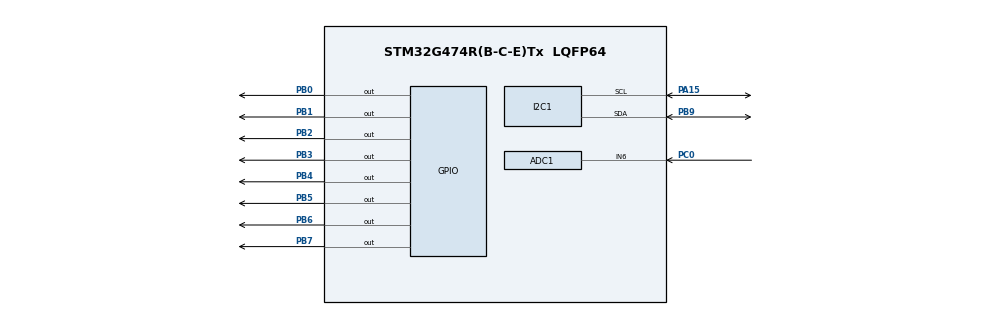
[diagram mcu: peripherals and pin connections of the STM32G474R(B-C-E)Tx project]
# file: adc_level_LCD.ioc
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ADC1.Channel-0\#ChannelRegularConversion=ADC_CHANNEL_6
ADC1.NbrOfConversionFlag=1
ADC1.OffsetNumber-0\#ChannelRegularConversion=ADC_OFFSET_NONE
ADC1.Rank-0\#ChannelRegularConversion=1
ADC1.SamplingTime-0\#ChannelRegularConversion=ADC_SAMPLETIME_2CYCLES_5
ADC1.master=1
I2C1.Timing=0x40B285C2
Mcu.Family=STM32G4
Mcu.Name=STM32G474R(B-C-E)Tx
Mcu.Package=LQFP64
NVIC.PriorityGroup=NVIC_PRIORITYGROUP_4
PA15.Mode=I2C
PA15.Signal=I2C1_SCL
PB0.Signal=GPIO_Output
PB1.Signal=GPIO_Output
PB2.Signal=GPIO_Output
PB3.Signal=GPIO_Output
PB4.Signal=GPIO_Output
PB5.Signal=GPIO_Output
PB6.Signal=GPIO_Output
PB7.Signal=GPIO_Output
PB9.Mode=I2C
PB9.Signal=I2C1_SDA
PC0.Mode=IN6-Single-Ended
PC0.Signal=ADC1_IN6
ProjectManager.HeapSize=0x200
ProjectManager.StackSize=0x400
ProjectManager.TargetToolchain=STM32CubeIDE
RCC.ADC12Freq_Value=170000000
RCC.ADC345Freq_Value=170000000
RCC.AHBFreq_Value=170000000
RCC.APB1Freq_Value=170000000
RCC.APB1TimFreq_Value=170000000
RCC.APB2Freq_Value=170000000
RCC.APB2TimFreq_Value=170000000
RCC.CortexFreq_Value=170000000
RCC.EXTERNAL_CLOCK_VALUE=12288000
RCC.HCLKFreq_Value=170000000
RCC.HSE_VALUE=24000000
RCC.HSI48_VALUE=48000000
RCC.HSI_VALUE=16000000
RCC.LSE_VALUE=32768
RCC.PLLM=RCC_PLLM_DIV4
RCC.PLLN=85
RCC.RTCClockSelection=RCC_RTCCLKSOURCE_LSE
RCC.SYSCLKFreq_VALUE=170000000
RCC.SYSCLKSource=RCC_SYSCLKSOURCE_PLLCLK
RCC.USBFreq_Value=170000000
RCC.VCOOutputFreq_Value=340000000
VP_SYS_VS_DBSignals.Mode=DisableDeadBatterySignals
board=NUCLEO-G474RE

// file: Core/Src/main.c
/* USER CODE BEGIN Header */
/**
  ******************************************************************************
  * @file           : main.c
  * @brief          : ADC Level on PORTB LEDs & LCD via PCA9555 Expander
  ******************************************************************************
  */
/* USER CODE END Header */
#include "main.h"

/* USER CODE BEGIN Includes */
#include <stdio.h>
#include "stm32g4xx_ll_i2c.h"
#include "stm32g4xx_ll_adc.h"
#include "stm32g4xx_ll_gpio.h"
#include "stm32g4xx_ll_bus.h"
#include "stm32g4xx_ll_utils.h"
/* USER CODE END Includes */

/* USER CODE BEGIN PTD */
typedef enum
{
    REG_INPUT_0 = 0,
    REG_INPUT_1 = 1,
    REG_OUTPUT_0 = 2,
    REG_OUTPUT_1 = 3,
    REG_POLARITY_INV_0 = 4,
    REG_POLARITY_INV_1 = 5,
    REG_CONFIGURATION_0 = 6,
    REG_CONFIGURATION_1 = 7
} PCA9555_REGISTERS;
/* USER CODE END PTD */

/* USER CODE BEGIN PD */
#define PCA9555_ADDRESS   (0x20 << 1) // 0x40

#define LCD_RS_PIN        (1 << 2)    // pex_0_2
#define LCD_E_PIN         (1 << 3)    // pex_0_3
/* USER CODE END PD */

/* USER CODE BEGIN PV */
volatile uint16_t pot_raw = 0;
volatile uint8_t  num_leds = 0;
/* USER CODE END PV */

void SystemClock_Config(void);
static void MX_GPIO_Init(void);
static void MX_ADC1_Init(void);
static void MX_I2C1_Init(void);
/* USER CODE BEGIN PFP */
void PCA9555_Write(uint8_t reg, uint8_t value);
uint8_t PCA9555_Read(uint8_t reg);

void LCD_PulseEnable(uint8_t data);
void LCD_Send4Bits(uint8_t nibble, uint8_t rs);
void LCD_SendCommand(uint8_t cmd);
void LCD_SendData(uint8_t data);
void LCD_Init(void);
void LCD_SetCursor(uint8_t row, uint8_t col);
void LCD_Print(char *str);
/* USER CODE END PFP */

int main(void)
{

  /* MCU Configuration--------------------------------------------------------*/

  /* Reset of all peripherals, Initializes the Flash interface and the Systick. */
  LL_APB2_GRP1_EnableClock(LL_APB2_GRP1_PERIPH_SYSCFG);
  LL_APB1_GRP1_EnableClock(LL_APB1_GRP1_PERIPH_PWR);

  /* System interrupt init*/
  NVIC_SetPriorityGrouping(NVIC_PRIORITYGROUP_4);

  /** Disable the internal Pull-Up in Dead Battery pins of UCPD peripheral
  */
  LL_PWR_DisableUCPDDeadBattery();

  /* Configure the system clock */
  SystemClock_Config();

  /* Initialize all configured peripherals */
  MX_GPIO_Init();
  MX_ADC1_Init();
  MX_I2C1_Init();
  /* USER CODE BEGIN 2 */
  /* 1. Ενεργοποίηση & Calibration ADC1 */
  LL_ADC_EnableInternalRegulator(ADC1);
  LL_mDelay(1);
  LL_ADC_StartCalibration(ADC1, LL_ADC_SINGLE_ENDED);
  while (LL_ADC_IsCalibrationOnGoing(ADC1));
  LL_ADC_Enable(ADC1);
  while (!LL_ADC_IsActiveFlag_ADRDY(ADC1));

  /* 2. Ρύθμιση Port 0 του PCA9555 ως Output για την LCD */
  PCA9555_Write(REG_CONFIGURATION_0, 0x00);
  PCA9555_Write(REG_OUTPUT_0, 0x00);

  /* 3. Αρχικοποίηση Οθόνης LCD */
  LCD_Init();
  /* USER CODE END 2 */

  /* Infinite loop */
  while (1)
  {

    /* USER CODE BEGIN 3 */
    /* 1. Ανάγνωση 12-bit ADC από POT1 (PC0) */
    LL_ADC_REG_StartConversion(ADC1);
    while (!LL_ADC_IsActiveFlag_EOC(ADC1));
    pot_raw = LL_ADC_REG_ReadConversionData12(ADC1);

    /* 2. Υπολογισμός στάθμης και οδήγηση των LEDs στο PORTB (PB0..PB7) */
    num_leds = (pot_raw + 64) / 512;
    if (num_leds > 8) num_leds = 8;

    uint8_t mask = 0;
    if (num_leds > 0) {
        mask = (1 << num_leds) - 1;
    }

    uint32_t portb_val = LL_GPIO_ReadOutputPort(GPIOB);
    portb_val &= ~0x00FF;
    portb_val |= (mask & 0x00FF);
    LL_GPIO_WriteOutputPort(GPIOB, portb_val);

    /* 3. Υπολογισμός πραγματικής τάσης σε Volt */
    uint32_t voltage_mv = ((uint32_t)pot_raw * 3300) / 4095;
    uint8_t v_int = voltage_mv / 1000;
    uint16_t v_dec = (voltage_mv % 1000) / 10;

    /* 4. Μορφοποίηση 16 χαρακτήρων ανά γραμμή χωρίς τρεμόπαιγμα */
    char line1[32];
    char line2[32];

    snprintf(line1, sizeof(line1), "RAW: %-4u  %u.%02uV ", pot_raw, (unsigned int)v_int, (unsigned int)v_dec);

    char bar[9] = "        ";
    for (int i = 0; i < 8; i++) {
        bar[i] = (i < num_leds) ? '=' : ' ';
    }
    snprintf(line2, sizeof(line2), "BAR:[%s]L%u ", bar, (unsigned int)num_leds);

    /* 5. Ενημέρωση της οθόνης με σταθερό Overwrite */
    LCD_SetCursor(0, 0);
    LCD_Print(line1);

    LCD_SetCursor(1, 0);
    LCD_Print(line2);

    LL_mDelay(80);
  }
  /* USER CODE END 3 */
}

void SystemClock_Config(void)
{
  LL_FLASH_SetLatency(LL_FLASH_LATENCY_4);
  while(LL_FLASH_GetLatency() != LL_FLASH_LATENCY_4)
  {
  }
  LL_PWR_EnableRange1BoostMode();
  LL_RCC_HSI_Enable();
   /* Wait till HSI is ready */
  while(LL_RCC_HSI_IsReady() != 1)
  {
  }

  LL_RCC_HSI_SetCalibTrimming(64);
  LL_RCC_PLL_ConfigDomain_SYS(LL_RCC_PLLSOURCE_HSI, LL_RCC_PLLM_DIV_4, 85, LL_RCC_PLLR_DIV_2);
  LL_RCC_PLL_EnableDomain_SYS();
  LL_RCC_PLL_Enable();
   /* Wait till PLL is ready */
  while(LL_RCC_PLL_IsReady() != 1)
  {
  }

  LL_RCC_SetSysClkSource(LL_RCC_SYS_CLKSOURCE_PLL);
  LL_RCC_SetAHBPrescaler(LL_RCC_SYSCLK_DIV_2);
   /* Wait till System clock is ready */
  while(LL_RCC_GetSysClkSource() != LL_RCC_SYS_CLKSOURCE_STATUS_PLL)
  {
  }

  /* Insure 1us transition state at intermediate medium speed clock*/
  for (__IO uint32_t i = (170 >> 1); i !=0; i--);

  /* Set AHB prescaler*/
  LL_RCC_SetAHBPrescaler(LL_RCC_SYSCLK_DIV_1);
  LL_RCC_SetAPB1Prescaler(LL_RCC_APB1_DIV_1);
  LL_RCC_SetAPB2Prescaler(LL_RCC_APB2_DIV_1);

  LL_Init1msTick(170000000);

  LL_SetSystemCoreClock(170000000);
}

static void MX_ADC1_Init(void)
{

  LL_ADC_InitTypeDef ADC_InitStruct = {0};
  LL_ADC_REG_InitTypeDef ADC_REG_InitStruct = {0};
  LL_ADC_CommonInitTypeDef ADC_CommonInitStruct = {0};

  LL_GPIO_InitTypeDef GPIO_InitStruct = {0};

  LL_RCC_SetADCClockSource(LL_RCC_ADC12_CLKSOURCE_SYSCLK);

  /* Peripheral clock enable */
  LL_AHB2_GRP1_EnableClock(LL_AHB2_GRP1_PERIPH_ADC12);

  LL_AHB2_GRP1_EnableClock(LL_AHB2_GRP1_PERIPH_GPIOC);
  /**ADC1 GPIO Configuration
  PC0   ------> ADC1_IN6
  */
  GPIO_InitStruct.Pin = LL_GPIO_PIN_0;
  GPIO_InitStruct.Mode = LL_GPIO_MODE_ANALOG;
  GPIO_InitStruct.Pull = LL_GPIO_PULL_NO;
  LL_GPIO_Init(GPIOC, &GPIO_InitStruct);

  /** Common config
  */
  ADC_InitStruct.Resolution = LL_ADC_RESOLUTION_12B;
  ADC_InitStruct.DataAlignment = LL_ADC_DATA_ALIGN_RIGHT;
  ADC_InitStruct.LowPowerMode = LL_ADC_LP_MODE_NONE;
  LL_ADC_Init(ADC1, &ADC_InitStruct);
  ADC_REG_InitStruct.TriggerSource = LL_ADC_REG_TRIG_SOFTWARE;
  ADC_REG_InitStruct.SequencerLength = LL_ADC_REG_SEQ_SCAN_DISABLE;
  ADC_REG_InitStruct.SequencerDiscont = LL_ADC_REG_SEQ_DISCONT_DISABLE;
  ADC_REG_InitStruct.ContinuousMode = LL_ADC_REG_CONV_SINGLE;
  ADC_REG_InitStruct.DMATransfer = LL_ADC_REG_DMA_TRANSFER_NONE;
  ADC_REG_InitStruct.Overrun = LL_ADC_REG_OVR_DATA_PRESERVED;
  LL_ADC_REG_Init(ADC1, &ADC_REG_InitStruct);
  LL_ADC_SetGainCompensation(ADC1, 0);
  LL_ADC_SetOverSamplingScope(ADC1, LL_ADC_OVS_DISABLE);
  ADC_CommonInitStruct.CommonClock = LL_ADC_CLOCK_SYNC_PCLK_DIV4;
  ADC_CommonInitStruct.Multimode = LL_ADC_MULTI_INDEPENDENT;
  LL_ADC_CommonInit(__LL_ADC_COMMON_INSTANCE(ADC1), &ADC_CommonInitStruct);

  /* Disable ADC deep power down (enabled by default after reset state) */
  LL_ADC_DisableDeepPowerDown(ADC1);
  /* Enable ADC internal voltage regulator */
  LL_ADC_EnableInternalRegulator(ADC1);
  /* Delay for ADC internal voltage regulator stabilization. */
  /* Compute number of CPU cycles to wait for, from delay in us. */
  /* Note: Variable divided by 2 to compensate partially */
  /* CPU processing cycles (depends on compilation optimization). */
  /* Note: If system core clock frequency is below 200kHz, wait time */
  /* is only a few CPU processing cycles. */
  uint32_t wait_loop_index;
  wait_loop_index = ((LL_ADC_DELAY_INTERNAL_REGUL_STAB_US * (SystemCoreClock / (100000 * 2))) / 10);
  while(wait_loop_index != 0)
  {
    wait_loop_index--;
  }

  /** Configure Regular Channel
  */
  LL_ADC_REG_SetSequencerRanks(ADC1, LL_ADC_REG_RANK_1, LL_ADC_CHANNEL_6);
  LL_ADC_SetChannelSamplingTime(ADC1, LL_ADC_CHANNEL_6, LL_ADC_SAMPLINGTIME_2CYCLES_5);
  LL_ADC_SetChannelSingleDiff(ADC1, LL_ADC_CHANNEL_6, LL_ADC_SINGLE_ENDED);

}

static void MX_I2C1_Init(void)
{

  LL_I2C_InitTypeDef I2C_InitStruct = {0};

  LL_GPIO_InitTypeDef GPIO_InitStruct = {0};

  LL_RCC_SetI2CClockSource(LL_RCC_I2C1_CLKSOURCE_PCLK1);

  LL_AHB2_GRP1_EnableClock(LL_AHB2_GRP1_PERIPH_GPIOA);
  LL_AHB2_GRP1_EnableClock(LL_AHB2_GRP1_PERIPH_GPIOB);
  /**I2C1 GPIO Configuration
  PA15   ------> I2C1_SCL
  PB9   ------> I2C1_SDA
  */
  GPIO_InitStruct.Pin = LL_GPIO_PIN_15;
  GPIO_InitStruct.Mode = LL_GPIO_MODE_ALTERNATE;
  GPIO_InitStruct.Speed = LL_GPIO_SPEED_FREQ_LOW;
  GPIO_InitStruct.OutputType = LL_GPIO_OUTPUT_OPENDRAIN;
  GPIO_InitStruct.Pull = LL_GPIO_PULL_NO;
  GPIO_InitStruct.Alternate = LL_GPIO_AF_4;
  LL_GPIO_Init(GPIOA, &GPIO_InitStruct);

  GPIO_InitStruct.Pin = LL_GPIO_PIN_9;
  GPIO_InitStruct.Mode = LL_GPIO_MODE_ALTERNATE;
  GPIO_InitStruct.Speed = LL_GPIO_SPEED_FREQ_LOW;
  GPIO_InitStruct.OutputType = LL_GPIO_OUTPUT_OPENDRAIN;
  GPIO_InitStruct.Pull = LL_GPIO_PULL_NO;
  GPIO_InitStruct.Alternate = LL_GPIO_AF_4;
  LL_GPIO_Init(GPIOB, &GPIO_InitStruct);

  /* Peripheral clock enable */
  LL_APB1_GRP1_EnableClock(LL_APB1_GRP1_PERIPH_I2C1);

  /** I2C Initialization
  */
  I2C_InitStruct.PeripheralMode = LL_I2C_MODE_I2C;
  I2C_InitStruct.Timing = 0x40B285C2;
  I2C_InitStruct.AnalogFilter = LL_I2C_ANALOGFILTER_ENABLE;
  I2C_InitStruct.DigitalFilter = 0;
  I2C_InitStruct.OwnAddress1 = 0;
  I2C_InitStruct.TypeAcknowledge = LL_I2C_ACK;
  I2C_InitStruct.OwnAddrSize = LL_I2C_OWNADDRESS1_7BIT;
  LL_I2C_Init(I2C1, &I2C_InitStruct);
  LL_I2C_EnableAutoEndMode(I2C1);
  LL_I2C_SetOwnAddress2(I2C1, 0, LL_I2C_OWNADDRESS2_NOMASK);
  LL_I2C_DisableOwnAddress2(I2C1);
  LL_I2C_DisableGeneralCall(I2C1);
  LL_I2C_EnableClockStretching(I2C1);

}

static void MX_GPIO_Init(void)
{
  LL_GPIO_InitTypeDef GPIO_InitStruct = {0};

  /* GPIO Ports Clock Enable */
  LL_AHB2_GRP1_EnableClock(LL_AHB2_GRP1_PERIPH_GPIOC);
  LL_AHB2_GRP1_EnableClock(LL_AHB2_GRP1_PERIPH_GPIOB);
  LL_AHB2_GRP1_EnableClock(LL_AHB2_GRP1_PERIPH_GPIOA);

  /**/
  LL_GPIO_ResetOutputPin(GPIOB, LL_GPIO_PIN_0);

  /**/
  LL_GPIO_ResetOutputPin(GPIOB, LL_GPIO_PIN_1);

  /**/
  LL_GPIO_ResetOutputPin(GPIOB, LL_GPIO_PIN_2);

  /**/
  LL_GPIO_ResetOutputPin(GPIOB, LL_GPIO_PIN_3);

  /**/
  LL_GPIO_ResetOutputPin(GPIOB, LL_GPIO_PIN_4);

  /**/
  LL_GPIO_ResetOutputPin(GPIOB, LL_GPIO_PIN_5);

  /**/
  LL_GPIO_ResetOutputPin(GPIOB, LL_GPIO_PIN_6);

  /**/
  LL_GPIO_ResetOutputPin(GPIOB, LL_GPIO_PIN_7);

  /**/
  GPIO_InitStruct.Pin = LL_GPIO_PIN_0;
  GPIO_InitStruct.Mode = LL_GPIO_MODE_OUTPUT;
  GPIO_InitStruct.Speed = LL_GPIO_SPEED_FREQ_LOW;
  GPIO_InitStruct.OutputType = LL_GPIO_OUTPUT_PUSHPULL;
  GPIO_InitStruct.Pull = LL_GPIO_PULL_NO;
  LL_GPIO_Init(GPIOB, &GPIO_InitStruct);

  /**/
  GPIO_InitStruct.Pin = LL_GPIO_PIN_1;
  GPIO_InitStruct.Mode = LL_GPIO_MODE_OUTPUT;
  GPIO_InitStruct.Speed = LL_GPIO_SPEED_FREQ_LOW;
  GPIO_InitStruct.OutputType = LL_GPIO_OUTPUT_PUSHPULL;
  GPIO_InitStruct.Pull = LL_GPIO_PULL_NO;
  LL_GPIO_Init(GPIOB, &GPIO_InitStruct);

  /**/
  GPIO_InitStruct.Pin = LL_GPIO_PIN_2;
  GPIO_InitStruct.Mode = LL_GPIO_MODE_OUTPUT;
  GPIO_InitStruct.Speed = LL_GPIO_SPEED_FREQ_LOW;
  GPIO_InitStruct.OutputType = LL_GPIO_OUTPUT_PUSHPULL;
  GPIO_InitStruct.Pull = LL_GPIO_PULL_NO;
  LL_GPIO_Init(GPIOB, &GPIO_InitStruct);

  /**/
  GPIO_InitStruct.Pin = LL_GPIO_PIN_3;
  GPIO_InitStruct.Mode = LL_GPIO_MODE_OUTPUT;
  GPIO_InitStruct.Speed = LL_GPIO_SPEED_FREQ_LOW;
  GPIO_InitStruct.OutputType = LL_GPIO_OUTPUT_PUSHPULL;
  GPIO_InitStruct.Pull = LL_GPIO_PULL_NO;
  LL_GPIO_Init(GPIOB, &GPIO_InitStruct);

  /**/
  GPIO_InitStruct.Pin = LL_GPIO_PIN_4;
  GPIO_InitStruct.Mode = LL_GPIO_MODE_OUTPUT;
  GPIO_InitStruct.Speed = LL_GPIO_SPEED_FREQ_LOW;
  GPIO_InitStruct.OutputType = LL_GPIO_OUTPUT_PUSHPULL;
  GPIO_InitStruct.Pull = LL_GPIO_PULL_NO;
  LL_GPIO_Init(GPIOB, &GPIO_InitStruct);

  /**/
  GPIO_InitStruct.Pin = LL_GPIO_PIN_5;
  GPIO_InitStruct.Mode = LL_GPIO_MODE_OUTPUT;
  GPIO_InitStruct.Speed = LL_GPIO_SPEED_FREQ_LOW;
  GPIO_InitStruct.OutputType = LL_GPIO_OUTPUT_PUSHPULL;
  GPIO_InitStruct.Pull = LL_GPIO_PULL_NO;
  LL_GPIO_Init(GPIOB, &GPIO_InitStruct);

  /**/
  GPIO_InitStruct.Pin = LL_GPIO_PIN_6;
  GPIO_InitStruct.Mode = LL_GPIO_MODE_OUTPUT;
  GPIO_InitStruct.Speed = LL_GPIO_SPEED_FREQ_LOW;
  GPIO_InitStruct.OutputType = LL_GPIO_OUTPUT_PUSHPULL;
  GPIO_InitStruct.Pull = LL_GPIO_PULL_NO;
  LL_GPIO_Init(GPIOB, &GPIO_InitStruct);

  /**/
  GPIO_InitStruct.Pin = LL_GPIO_PIN_7;
  GPIO_InitStruct.Mode = LL_GPIO_MODE_OUTPUT;
  GPIO_InitStruct.Speed = LL_GPIO_SPEED_FREQ_LOW;
  GPIO_InitStruct.OutputType = LL_GPIO_OUTPUT_PUSHPULL;
  GPIO_InitStruct.Pull = LL_GPIO_PULL_NO;
  LL_GPIO_Init(GPIOB, &GPIO_InitStruct);

}

/* USER CODE BEGIN 4 */
/*
 * Write one byte to PCA9555 register
 */
void PCA9555_Write(uint8_t reg, uint8_t value)
{
    uint32_t timeout = 20000;

    LL_I2C_HandleTransfer(
        I2C1,
        PCA9555_ADDRESS,
        LL_I2C_ADDRSLAVE_7BIT,
        2,
        LL_I2C_MODE_AUTOEND,
        LL_I2C_GENERATE_START_WRITE
    );

    while (!LL_I2C_IsActiveFlag_TXIS(I2C1)) {
        if (--timeout == 0 || LL_I2C_IsActiveFlag_NACK(I2C1)) {
            LL_I2C_ClearFlag_NACK(I2C1);
            return;
        }
    }
    LL_I2C_TransmitData8(I2C1, reg);

    timeout = 20000;
    while (!LL_I2C_IsActiveFlag_TXIS(I2C1)) {
        if (--timeout == 0 || LL_I2C_IsActiveFlag_NACK(I2C1)) {
            LL_I2C_ClearFlag_NACK(I2C1);
            return;
        }
    }
    LL_I2C_TransmitData8(I2C1, value);

    timeout = 20000;
    while (!LL_I2C_IsActiveFlag_STOP(I2C1)) {
        if (--timeout == 0) return;
    }
    LL_I2C_ClearFlag_STOP(I2C1);
}

/*
 * Read one byte from PCA9555 register
 */
uint8_t PCA9555_Read(uint8_t reg)
{
    uint8_t received_data = 0;
    uint32_t timeout = 20000;

    LL_I2C_HandleTransfer(
        I2C1,
        PCA9555_ADDRESS,
        LL_I2C_ADDRSLAVE_7BIT,
        1,
        LL_I2C_MODE_SOFTEND,
        LL_I2C_GENERATE_START_WRITE
    );

    while (!LL_I2C_IsActiveFlag_TXIS(I2C1)) {
        if (--timeout == 0 || LL_I2C_IsActiveFlag_NACK(I2C1)) {
            LL_I2C_ClearFlag_NACK(I2C1);
            return 0xFF;
        }
    }
    LL_I2C_TransmitData8(I2C1, reg);

    timeout = 20000;
    while (!LL_I2C_IsActiveFlag_TC(I2C1)) {
        if (--timeout == 0) return 0xFF;
    }

    LL_I2C_HandleTransfer(
        I2C1,
        PCA9555_ADDRESS,
        LL_I2C_ADDRSLAVE_7BIT,
        1,
        LL_I2C_MODE_AUTOEND,
        LL_I2C_GENERATE_START_READ
    );

    timeout = 20000;
    while (!LL_I2C_IsActiveFlag_RXNE(I2C1)) {
        if (--timeout == 0) return 0xFF;
    }
    received_data = LL_I2C_ReceiveData8(I2C1);

    timeout = 20000;
    while (!LL_I2C_IsActiveFlag_STOP(I2C1)) {
        if (--timeout == 0) break;
    }
    LL_I2C_ClearFlag_STOP(I2C1);

    return received_data;
}

/*
 * Οδήγηση LCD μέσω PCA9555 (Port 0)
 */
void LCD_PulseEnable(uint8_t data)
{
    PCA9555_Write(REG_OUTPUT_0, data | LCD_E_PIN);
    for (__IO uint32_t i = 0; i < 500; i++);
    PCA9555_Write(REG_OUTPUT_0, data & ~LCD_E_PIN);
    for (__IO uint32_t i = 0; i < 500; i++);
}

void LCD_Send4Bits(uint8_t nibble, uint8_t rs)
{
    uint8_t out = (nibble & 0xF0);
    if (rs) {
        out |= LCD_RS_PIN;
    }
    LCD_PulseEnable(out);
}

void LCD_SendCommand(uint8_t cmd)
{
    LCD_Send4Bits(cmd & 0xF0, 0);
    LCD_Send4Bits((cmd << 4) & 0xF0, 0);
    LL_mDelay(2);
}

void LCD_SendData(uint8_t data)
{
    LCD_Send4Bits(data & 0xF0, 1);
    LCD_Send4Bits((data << 4) & 0xF0, 1);
    LL_mDelay(1);
}

void LCD_Init(void)
{
    LL_mDelay(50);
    LCD_Send4Bits(0x30, 0);
    LL_mDelay(5);
    LCD_Send4Bits(0x30, 0);
    LL_mDelay(1);
    LCD_Send4Bits(0x30, 0);
    LL_mDelay(1);
    LCD_Send4Bits(0x20, 0);
    LL_mDelay(1);

    LCD_SendCommand(0x28);
    LCD_SendCommand(0x0C);
    LCD_SendCommand(0x06);
    LCD_SendCommand(0x01);
    LL_mDelay(5);
}

void LCD_SetCursor(uint8_t row, uint8_t col)
{
    uint8_t addr = (row == 0) ? (0x80 + col) : (0xC0 + col);
    LCD_SendCommand(addr);
}

void LCD_Print(char *str)
{
    while (*str) {
        LCD_SendData((uint8_t)(*str));
        str++;
    }
}
/* USER CODE END 4 */

void Error_Handler(void)
{
  __disable_irq();
  while (1)
  {
  }
}
